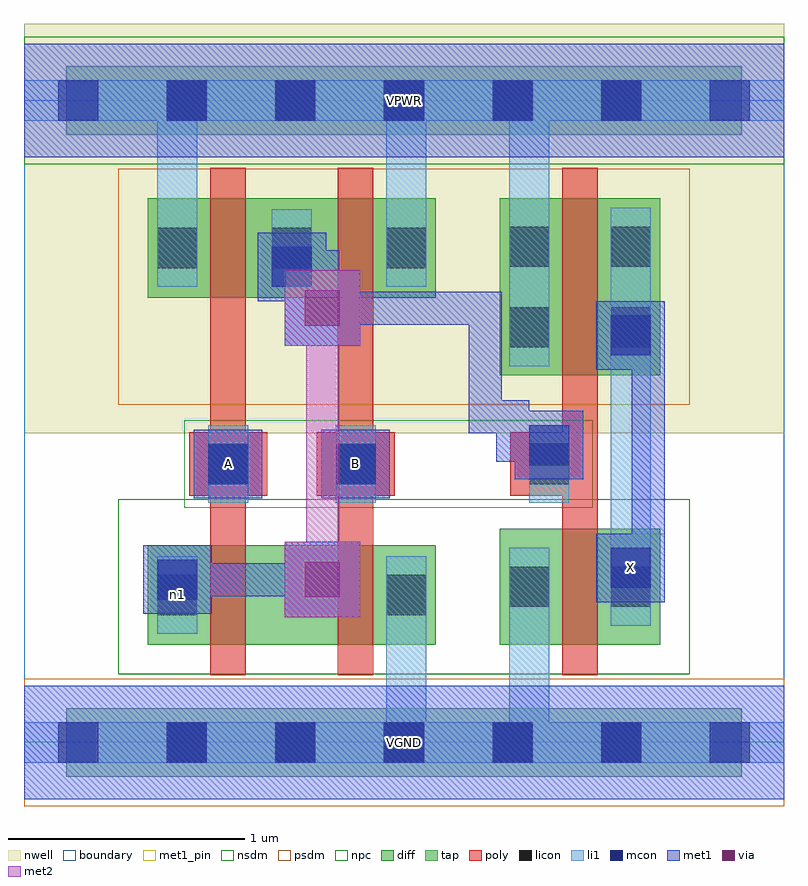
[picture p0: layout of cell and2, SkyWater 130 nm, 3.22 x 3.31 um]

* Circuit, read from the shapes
.subckt and2 A B VGND VPWR X n1
XM1 n2 A n1 VGND sky130_fd_pr__nfet_01v8 w=0.42 l=0.15
XM2 VGND B n2 VGND sky130_fd_pr__nfet_01v8 w=0.42 l=0.15
XM3 X n1 VGND VGND sky130_fd_pr__nfet_01v8 w=0.49 l=0.15
XM4 n1 A VPWR VPWR sky130_fd_pr__pfet_01v8 w=0.42 l=0.15
XM5 VPWR B n1 VPWR sky130_fd_pr__pfet_01v8 w=0.42 l=0.15
XM6 X n1 VPWR VPWR sky130_fd_pr__pfet_01v8 w=0.75 l=0.15
.ends

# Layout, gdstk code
import gdstk
lib = gdstk.Library(unit=1e-6, precision=1e-09)
def R(c, l, rs):  # rectangles x0, y0, x1, y1
    for r in rs: c.add(gdstk.rectangle(r[:2], r[2:], *l))
def A(c, l, x, y, w, h, nx, ny, dx, dy):  # array of equal rectangles
    R(c, l, [(x+i*dx, y+j*dy, x+i*dx+w, y+j*dy+h) for i in range(nx) for j in range(ny)])
nwell = (64, 20)
diff = (65, 20)
tap = (65, 44)
poly = (66, 20)
licon = (66, 44)
li1 = (67, 20)
mcon = (67, 44)
met1_pin = (68, 16)
met1 = (68, 20)
via = (68, 44)
met2 = (69, 20)
nsdm = (93, 44)
psdm = (94, 20)
npc = (95, 20)
boundary = (235, 4)

and2 = lib.new_cell('and2')
R(and2, nwell, [(0,1.31,3.22,3.045)])
R(and2, diff, [(0.525,0.415,1.745,0.835), (2.015,0.415,2.695,0.905), (2.015,1.555,2.695,2.305), (0.525,1.885,1.745,2.305)])
R(and2, tap, [(0.18,-0.145,3.04,0.145), (0.18,2.575,3.04,2.865)])
R(and2, poly, [(0.79,0.285,0.94,2.435), (1.33,0.285,1.48,2.435), (2.28,0.285,2.43,2.435), (0.7,1.045,1.03,1.315), (1.24,1.045,1.57,1.315), (2.06,1.045,2.39,1.315)])
A(and2, licon, 0.605, -0.085, 0.17, 0.17, 5, 2, 0.46, 2.72)
A(and2, licon, 0.565, 2.01, 0.17, 0.17, 3, 1, 0.485, 0)
R(and2, licon, [(0.565,0.54,0.735,0.71), (1.535,0.54,1.705,0.71), (2.055,0.575,2.225,0.745), (2.485,0.575,2.655,0.745), (0.78,1.095,0.95,1.265), (1.32,1.095,1.49,1.265), (2.14,1.095,2.31,1.265), (2.055,1.675,2.225,1.845), (2.485,1.675,2.655,1.845), (2.055,2.015,2.225,2.185), (2.485,2.015,2.655,2.185)])
A(and2, li1, 0.565, 1.93, 0.17, 0.33, 3, 1, 0.485, 0)
R(and2, li1, [(0,-0.085,3.22,0.085), (1.535,-0.085,1.705,0.79), (2.055,-0.085,2.225,0.825), (0.565,0.46,0.735,0.79), (1.535,0.46,1.705,0.79), (2.055,0.495,2.225,0.825), (2.485,0.495,2.655,0.825), (2.485,0.495,2.655,2.265), (0.78,1.015,0.95,1.345), (1.32,1.015,1.49,1.345), (2.14,1.015,2.31,1.345), (2.055,1.595,2.225,2.265), (2.055,1.595,2.225,2.805), (2.485,1.595,2.655,2.265), (0.565,1.93,0.735,2.805), (1.535,1.93,1.705,2.805), (0,2.635,3.22,2.805)])
A(and2, mcon, 0.145, -0.085, 0.17, 0.17, 7, 2, 0.46, 2.72)
R(and2, mcon, [(0.565,0.605,0.735,0.775), (2.485,0.655,2.655,0.825), (0.78,1.095,0.95,1.265), (1.32,1.095,1.49,1.265), (2.14,1.175,2.31,1.345), (2.485,1.64,2.655,1.81), (1.05,1.93,1.22,2.1)])
R(and2, met1_pin, [(0,-0.24,3.22,0.24), (2.425,0.595,2.715,0.885), (0.72,1.035,1.01,1.325), (1.26,1.035,1.55,1.325), (0,2.48,3.22,2.96)])
R(and2, met1, [(0,-0.24,3.22,0.24), (1.105,0.53,1.425,0.85), (0.505,0.545,0.795,0.835), (2.425,0.595,2.715,0.885), (0.58,0.62,0.875,0.76), (0.735,0.62,1.335,0.76), (2.5,0.67,2.715,0.81), (2.575,0.67,2.715,0.99), (2.575,0.85,2.715,1.795), (0.72,1.035,1.01,1.325), (1.26,1.035,1.55,1.325), (2.08,1.115,2.37,1.405), (2,1.19,2.295,1.33), (2,1.19,2.14,1.45), (1.885,1.31,2.025,1.91), (1.885,1.31,2.14,1.45), (2.425,1.58,2.715,1.87), (2.5,1.655,2.715,1.795), (1.105,1.68,1.425,2), (1.195,1.77,1.335,2.085), (1.195,1.77,2.025,1.91), (0.99,1.87,1.28,2.16), (1.065,1.945,1.335,2.085), (0,2.48,3.22,2.96)])
R(and2, via, [(1.19,0.615,1.34,0.765), (1.19,1.765,1.34,1.915)])
R(and2, met2, [(1.105,0.53,1.425,0.85), (1.195,0.62,1.335,1.91), (1.105,1.68,1.425,2)])
R(and2, nsdm, [(0.4,0.29,2.82,1.03), (0,2.45,3.22,2.99)])
R(and2, psdm, [(0,-0.27,3.22,0.27), (0.4,1.43,2.82,2.43)])
R(and2, npc, [(0.68,0.995,2.41,1.365)])
R(and2, boundary, [(0,0,3.22,2.72)])
and2.add(gdstk.Label('n1', (0.65,0.625), layer=67, texttype=5))
and2.add(gdstk.Label('A', (0.865,1.18), layer=68, texttype=5))
and2.add(gdstk.Label('B', (1.405,1.18), layer=68, texttype=5))
and2.add(gdstk.Label('X', (2.57,0.74), layer=68, texttype=5))
and2.add(gdstk.Label('VPWR', (1.61,2.72), layer=68, texttype=5))
and2.add(gdstk.Label('VGND', (1.61,0), layer=68, texttype=5))
and2.add(gdstk.Label('A', (0.865,1.18), layer=68, texttype=16))
and2.add(gdstk.Label('B', (1.405,1.18), layer=68, texttype=16))
and2.add(gdstk.Label('X', (2.57,0.74), layer=68, texttype=16))
and2.add(gdstk.Label('VPWR', (1.61,2.72), layer=68, texttype=16))
and2.add(gdstk.Label('VGND', (1.61,0), layer=68, texttype=16))

lib.write_gds('and2.gds')
